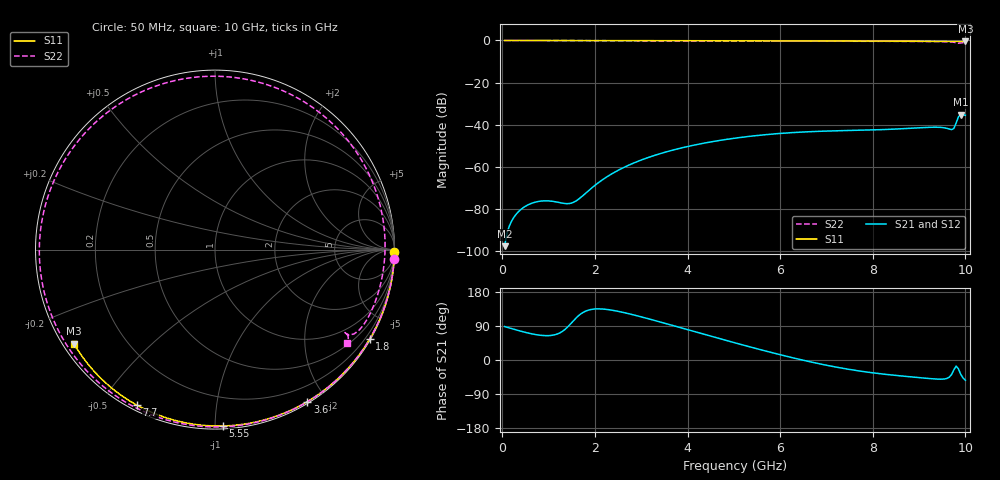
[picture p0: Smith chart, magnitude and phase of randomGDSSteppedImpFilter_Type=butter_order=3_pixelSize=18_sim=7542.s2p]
! freq	dB(S11)	phase(S11)	dB(S12)	phase(S12)
!  dB(S21)	phase(S21)	dB(S22)	phase(S22)
!S-par simulation data
#  GHz  S  DB  R 50
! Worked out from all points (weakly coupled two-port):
!   200 points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, 50 MHz to 10 GHz, reference 50 ohm
!   highest |S21| = -35.23 dB at 9.9 GHz (marker M1); lowest = -97.8 dB at 50 MHz (marker M2)
!   lowest |S11| = -0.5 dB at 10 GHz (marker M3), VSWR 35.56, Z = 1.53 - j15.1 ohm
!   |S11| at or under -10 dB: nowhere
!   |S22| runs from -1.3 to 0.0 dB; largest |S21 - S12| = 0
!   S11 on the Smith chart (normalised r, x): 50 MHz: open; 1.8 GHz: 0.03, -3.72; 3.6 GHz: 0.02, -1.78; 5.55 GHz: 0.02, -1.05; 7.7 GHz: 0.02, -0.62; 10 GHz: 0.03, -0.30
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0.05  -0.00 -0.9  -97.77 88.2  -97.77 88.2  -0.00 -2.9
0.45  -0.01 -7.6  -79.51 74.4  -79.51 74.4  -0.04 -25.3
0.95  -0.02 -16.0  -76.21 64.2  -76.21 64.2  -0.07 -52.3
1.45  -0.03 -24.4  -77.50 92.0  -77.50 92.0  -0.09 -77.7
1.75  -0.04 -29.3  -73.57 125.9  -73.57 125.9  -0.11 -92.0
1.8  -0.04 -30.1  -72.60 128.9  -72.60 128.9  -0.11 -94.4
2.5  -0.05 -41.5  -61.74 128.5  -61.74 128.5  -0.13 -124.9
3.4  -0.07 -55.7  -53.85 100.6  -53.85 100.6  -0.16 -160.1
3.6  -0.08 -58.7  -52.59 93.8  -52.59 93.8  -0.17 -167.5
4.3  -0.10 -69.3  -49.04 69.8  -49.04 69.8  -0.20 167.3
5.05  -0.12 -80.3  -46.36 44.4  -46.36 44.4  -0.23 140.8
5.55  -0.14 -87.5  -45.07 28.0  -45.07 28.0  -0.26 123.0
6.15  -0.17 -95.8  -43.96 9.4  -43.96 9.4  -0.29 101.4
6.7  -0.20 -103.3  -43.30 -6.1  -43.30 -6.1  -0.31 81.3
7.7  -0.27 -116.6  -42.68 -28.8  -42.68 -28.8  -0.36 44.3
8.35  -0.32 -125.0  -42.25 -38.8  -42.25 -38.8  -0.41 20.3
9.05  -0.39 -134.1  -41.45 -47.1  -41.45 -47.1  -0.49 -4.9
9.7  -0.46 -142.4  -42.38 -38.6  -42.38 -38.6  -0.72 -29.1
9.75  -0.46 -143.0  -41.86 -26.0  -41.86 -26.0  -0.85 -31.2
9.85  -0.47 -144.3  -36.27 -23.5  -36.27 -23.5  -1.32 -32.5
9.9  -0.47 -145.0  -35.23 -37.8  -35.23 -37.8  -1.19 -32.3
10  -0.49 -146.3  -35.55 -53.3  -35.55 -53.3  -0.90 -35.3
